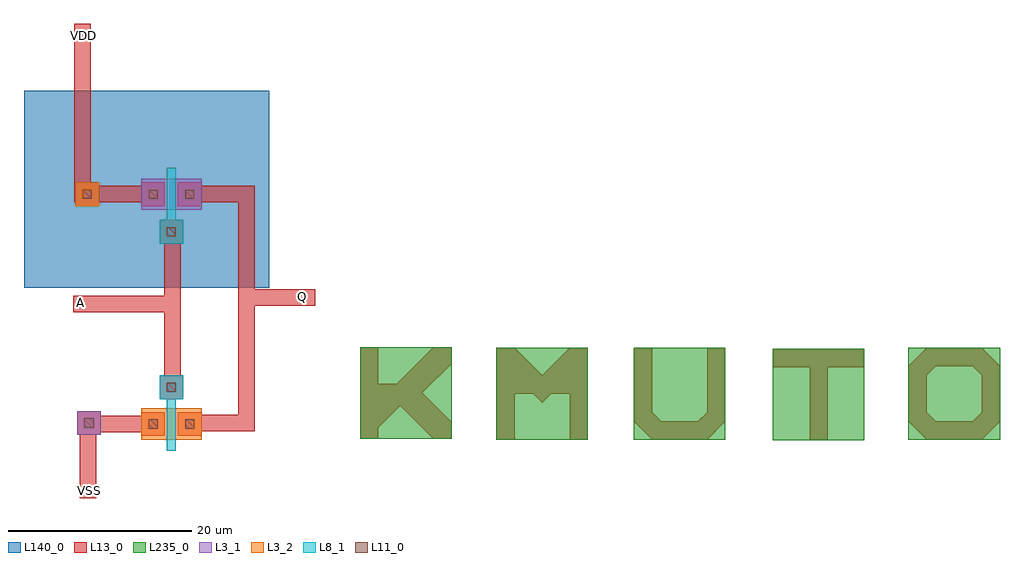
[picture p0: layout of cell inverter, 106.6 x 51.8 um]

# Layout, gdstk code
import gdstk
lib = gdstk.Library(unit=1e-6, precision=1e-07)
def R(c, l, rs):  # rectangles x0, y0, x1, y1
    for r in rs: c.add(gdstk.rectangle(r[:2], r[2:], *l))
def P(c, l, *ps):  # polygons
    for p in ps: c.add(gdstk.Polygon(p, *l))
L3_1 = (3, 1)
L3_2 = (3, 2)
L8_1 = (8, 1)
L11_0 = (11, 0)
L13_0 = (13, 0)
L140_0 = (140, 0)
L235_0 = (235, 0)

fet_p = lib.new_cell('fet_p')
R(fet_p, L3_1, [(-3.3,-1.7,3.3,1.7)])
R(fet_p, L11_0, [(-2.5,-0.5,-1.5,0.5), (1.5,-0.5,2.5,0.5)])
R(fet_p, L13_0, [(-3.3,-1.3,-0.7,1.3), (0.7,-1.3,3.3,1.3)])
fet_p.add(gdstk.FlexPath([(0,-2.9),(0,2.9)], 1, ends="flush", simple_path=True, layer=8, datatype=1))  # L8_1

cont_p = lib.new_cell('cont_p')
R(cont_p, L3_1, [(-1.3,-1.3,1.3,1.3)])
R(cont_p, L11_0, [(-0.5,-0.5,0.5,0.5)])
R(cont_p, L13_0, [(-1.3,-1.3,1.3,1.3)])

cont_g = lib.new_cell('cont_g')
R(cont_g, L8_1, [(-1.3,-1.3,1.3,1.3)])
R(cont_g, L11_0, [(-0.5,-0.5,0.5,0.5)])
R(cont_g, L13_0, [(-1.3,-1.3,1.3,1.3)])

fet_n = lib.new_cell('fet_n')
R(fet_n, L3_2, [(-3.3,-1.7,3.3,1.7)])
R(fet_n, L11_0, [(-2.5,-0.5,-1.5,0.5), (1.5,-0.5,2.5,0.5)])
R(fet_n, L13_0, [(-3.3,-1.3,-0.7,1.3), (0.7,-1.3,3.3,1.3)])
fet_n.add(gdstk.FlexPath([(0,-2.9),(0,2.9)], 1, ends="flush", simple_path=True, layer=8, datatype=1))  # L8_1

cont_n = lib.new_cell('cont_n')
R(cont_n, L3_2, [(-1.3,-1.3,1.3,1.3)])
R(cont_n, L11_0, [(-0.5,-0.5,0.5,0.5)])
R(cont_n, L13_0, [(-1.3,-1.3,1.3,1.3)])

c_k = lib.new_cell('K')
P(c_k, L13_0, [(0,0),(0,10),(2,10),(2,6),(4,6),(8,10),(10,10),(10,8.2),(6.8,5),(10,1.8),(10,0),(8,0),(4.4,3.6),(2,1.2),(2,0)])
R(c_k, L235_0, [(0,0,10,10)])

c_m = lib.new_cell('M')
P(c_m, L13_0, [(0,0),(0,10),(2,10),(5,7),(8,10),(10,10),(10,0),(8,0),(8,5),(6,5),(5,4),(4,5),(2,5),(2,0)])
R(c_m, L235_0, [(0,0,10,10)])

c_u = lib.new_cell('U')
P(c_u, L13_0, [(2,0),(0,2),(0,10),(2,10),(2,3),(3,2),(7,2),(8,3),(8,10),(10,10),(10,2),(8,0)])
R(c_u, L235_0, [(0,0,10,10)])

c_t = lib.new_cell('T')
P(c_t, L13_0, [(4,0),(4,8),(0,8),(0,10),(10,10),(10,8),(6,8),(6,0)])
R(c_t, L235_0, [(0,0,10,10)])

c_o = lib.new_cell('O')
P(c_o, L13_0, [(2,0),(0,2),(0,8),(2,10),(8,10),(10,8),(10,2),(8,0),(5,0),(5,2),(7,2),(8,3),(8,7),(7,8),(3,8),(2,7),(2,3),(3,2),(5,2),(5,0)])
R(c_o, L235_0, [(0,0,10,10)])

inverter = lib.new_cell('inverter')
R(inverter, L140_0, [(-16.6,-3.4,10.2,18.1)])
inverter.add(gdstk.FlexPath([(-2.6,-18.3),(-9.6,-18.3),(-9.6,-26.4)], 1.8, ends="flush", simple_path=True, layer=13, datatype=0))  # L13_0
inverter.add(gdstk.FlexPath([(7.5,-4.5),(15.2,-4.5)], 1.8, ends="flush", simple_path=True, layer=13, datatype=0))  # L13_0
inverter.add(gdstk.FlexPath([(-0.5,-5.2),(-11.2,-5.2)], 1.8, ends="flush", simple_path=True, layer=13, datatype=0))  # L13_0
inverter.add(gdstk.FlexPath([(-0.4,2.6),(-0.4,-14.1)], 1.8, ends="flush", simple_path=True, layer=13, datatype=0))  # L13_0
inverter.add(gdstk.FlexPath([(1.6,6.8),(7.7,6.8),(7.7,-18.2),(1.3,-18.2)], 1.8, ends="flush", simple_path=True, layer=13, datatype=0))  # L13_0
inverter.add(gdstk.FlexPath([(-2.6,6.8),(-10.2,6.8),(-10.2,25.4)], 1.8, ends="flush", simple_path=True, layer=13, datatype=0))  # L13_0
inverter.add(gdstk.Reference(fet_p, (-0.5,6.8)))
inverter.add(gdstk.Reference(cont_p, (-9.5,-18.2)))
inverter.add(gdstk.Reference(cont_g, (-0.5,-14.3)))
inverter.add(gdstk.Reference(fet_n, (-0.5,-18.3)))
inverter.add(gdstk.Reference(cont_n, (-9.7,6.8)))
inverter.add(gdstk.Reference(cont_g, (-0.5,2.7)))
inverter.add(gdstk.Reference(c_k, (20.1,-19.9)))
inverter.add(gdstk.Reference(c_m, (35,-20)))
inverter.add(gdstk.Reference(c_u, (50,-20)))
inverter.add(gdstk.Reference(c_t, (65.2,-20.1)))
inverter.add(gdstk.Reference(c_o, (80,-20)))
inverter.add(gdstk.Label('VSS', (-9.4,-25.6), layer=48, texttype=0))
inverter.add(gdstk.Label('VDD', (-10.1,24.1), layer=48, texttype=0))
inverter.add(gdstk.Label('Q', (13.8,-4.4), layer=48, texttype=0))
inverter.add(gdstk.Label('A', (-10.4,-5), layer=48, texttype=0))

lib.write_gds('inverter.gds')
